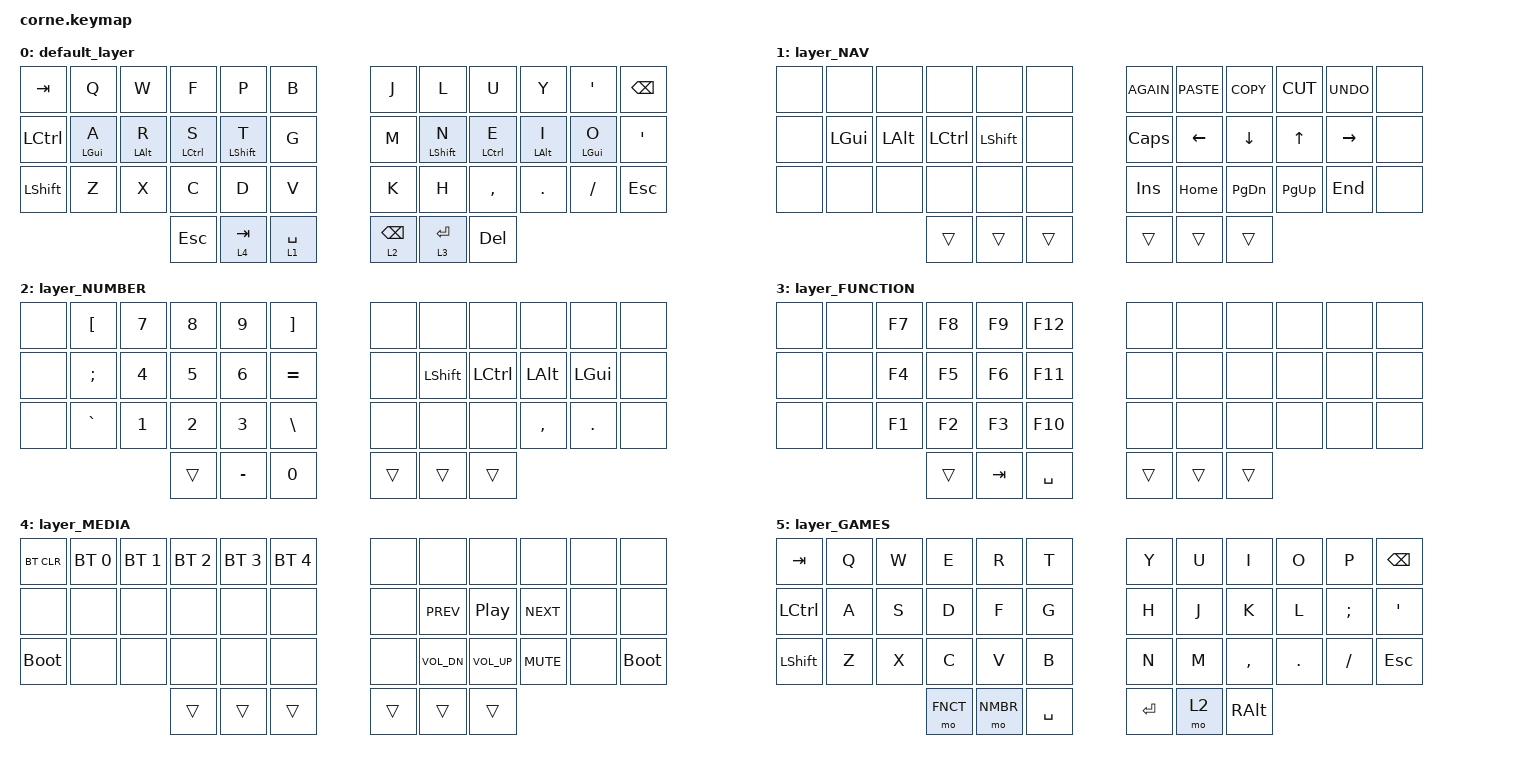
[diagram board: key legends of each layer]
/*
 * Copyright (c) 2020 The ZMK Contributors
 *
 * SPDX-License-Identifier: MIT
 */

#include <behaviors.dtsi>
#include <dt-bindings/zmk/bt.h>
#include <dt-bindings/zmk/keys.h>

#define DFLT 0
#define NAV 1
#define NMBR 2
#define FNCT 3
#define MDIA 4
#define GMS 5

/ {
    behaviors {
        hm: homerow_mods {
            compatible = "zmk,behavior-hold-tap";
            label = "HOMEROW_MODS";
            #binding-cells = <2>;
            tapping-term-ms = <150>;
            flavor = "tap-preferred";
            bindings = <&kp>, <&kp>;

            quick-tap-ms = <0>;
        };

        ltm: layer_toggle_mods {
            compatible = "zmk,behavior-hold-tap";
            label = "LAYER_TOGGLE_MODS";
            bindings = <&mo>, <&kp>;

            #binding-cells = <2>;
            quick-tap-ms = <200>;
            flavor = "tap-preferred";
            tapping-term-ms = <150>;
        };
    };

    combos {
        compatible = "zmk,combos";

        activate_qwerty {
            bindings = <&to GMS>;
            key-positions = <19 20 21 22>;
            timeout-ms = <50>;
            slow-release;
            layers = <0 5>;
        };
    };

    keymap {
        compatible = "zmk,keymap";

        default_layer {
            // -----------------------------------------------------------------------------------------
            // |  TAB |  Q  |  W  |  E  |  R  |  T  |   |  Y  |  U   |  I  |  O  |  P  | BKSP |
            // | CTRL |  A  |  S  |  D  |  F  |  G  |   |  H  |  J   |  K  |  L  |  ;  |  '   |
            // | SHFT |  Z  |  X  |  C  |  V  |  B  |   |  N  |  M   |  ,  |  .  |  /  | ESC  |
            //                    | GUI | LWR | SPC |   | ENT | RSE  | ALT |

            bindings = <
&kp TAB    &kp Q       &kp W       &kp F        &kp P        &kp B           &kp J             &kp L         &kp U        &kp Y       &kp SINGLE_QUOTE  &kp BSPC
&kp LCTRL  &hm LGUI A  &hm LALT R  &hm LCTRL S  &hm LSHFT T  &kp G           &kp M             &hm LSHFT N   &hm LCTRL E  &hm LALT I  &hm LEFT_GUI O    &kp SQT
&kp LSHFT  &kp Z       &kp X       &kp C        &kp D        &kp V           &kp K             &kp H         &kp COMMA    &kp DOT     &kp FSLH          &kp ESC
                                   &kp ESC      &ltm 4 TAB   &ltm 1 SPACE    &ltm 2 BACKSPACE  &ltm 3 ENTER  &kp DELETE
            >;
        };

        layer_NAV {
            bindings = <
&none  &none     &none     &none      &none      &none     &kp K_AGAIN  &kp K_PASTE  &kp K_COPY     &kp K_CUT    &kp K_UNDO  &none
&none  &kp LGUI  &kp LALT  &kp LCTRL  &kp LSHFT  &none     &kp CAPS     &kp LEFT     &kp DOWN       &kp UP       &kp RIGHT   &none
&none  &none     &none     &none      &none      &none     &kp INS      &kp HOME     &kp PAGE_DOWN  &kp PAGE_UP  &kp END     &none
                           &trans     &trans     &trans    &trans       &trans       &trans
            >;
        };

        layer_NUMBER {
            bindings = <
&none  &kp LBKT   &kp N7  &kp N8  &kp N9     &kp RBKT     &none   &none      &none      &none      &none     &none
&none  &kp SEMI   &kp N4  &kp N5  &kp N6     &kp EQUAL    &none   &kp LSHFT  &kp LCTRL  &kp LALT   &kp LGUI  &none
&none  &kp GRAVE  &kp N1  &kp N2  &kp N3     &kp BSLH     &none   &none      &none      &kp COMMA  &kp DOT   &none
                          &trans  &kp MINUS  &kp N0       &trans  &trans     &trans
            >;
        };

        layer_FUNCTION {
            bindings = <
&none  &none  &kp F7  &kp F8  &kp F9   &kp F12      &none   &none   &none   &none  &none  &none
&none  &none  &kp F4  &kp F5  &kp F6   &kp F11      &none   &none   &none   &none  &none  &none
&none  &none  &kp F1  &kp F2  &kp F3   &kp F10      &none   &none   &none   &none  &none  &none
                      &trans  &kp TAB  &kp SPACE    &trans  &trans  &trans
            >;
        };

        layer_MEDIA {
            bindings = <
&bt BT_CLR   &bt BT_SEL 0  &bt BT_SEL 1  &bt BT_SEL 2  &bt BT_SEL 3  &bt BT_SEL 4    &none   &none         &none             &none       &none  &none
&none        &none         &none         &none         &none         &none           &none   &kp C_PREV    &kp C_PLAY_PAUSE  &kp C_NEXT  &none  &none
&bootloader  &none         &none         &none         &none         &none           &none   &kp C_VOL_DN  &kp C_VOL_UP      &kp C_MUTE  &none  &bootloader
                                         &trans        &trans        &trans          &trans  &trans        &trans
            >;
        };

        layer_GAMES {
            // -----------------------------------------------------------------------------------------
            // |  TAB |  Q  |  W  |  E  |  R  |  T  |   |  Y  |  U   |  I  |  O  |  P  | BKSP |
            // | CTRL |  A  |  S  |  D  |  F  |  G  |   |  H  |  J   |  K  |  L  |  ;  |  '   |
            // | SHFT |  Z  |  X  |  C  |  V  |  B  |   |  N  |  M   |  ,  |  .  |  /  | ESC  |
            //                    | GUI | LWR | SPC |   | ENT | RSE  | ALT |

            bindings = <
&kp TAB    &kp Q  &kp W  &kp E     &kp R     &kp T        &kp Y    &kp U  &kp I      &kp O    &kp P     &kp BSPC
&kp LCTRL  &kp A  &kp S  &kp D     &kp F     &kp G        &kp H    &kp J  &kp K      &kp L    &kp SEMI  &kp SQT
&kp LSHFT  &kp Z  &kp X  &kp C     &kp V     &kp B        &kp N    &kp M  &kp COMMA  &kp DOT  &kp FSLH  &kp ESC
                         &mo FNCT  &mo NMBR  &kp SPACE    &kp RET  &mo 2  &kp RALT
            >;
        };
    };
};
